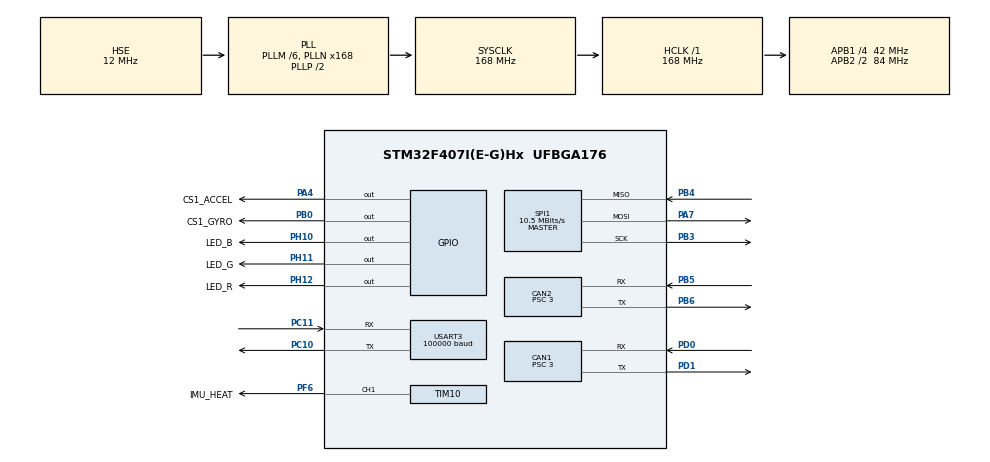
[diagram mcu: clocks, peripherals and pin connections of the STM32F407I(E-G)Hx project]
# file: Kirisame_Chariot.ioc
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CAN1.ABOM=ENABLE
CAN1.AWUM=ENABLE
CAN1.BS1=CAN_BS1_7TQ
CAN1.BS2=CAN_BS2_6TQ
CAN1.CalculateBaudRate=1000000
CAN1.CalculateTimeBit=1000
CAN1.CalculateTimeQuantum=71.42857142857143
CAN1.Mode=CAN_MODE_NORMAL
CAN1.NART=ENABLE
CAN1.Prescaler=3
CAN1.TXFP=ENABLE
CAN2.BS1=CAN_BS1_7TQ
CAN2.BS2=CAN_BS2_6TQ
CAN2.CalculateBaudRate=1000000
CAN2.CalculateTimeBit=1000
CAN2.CalculateTimeQuantum=71.42857142857143
CAN2.Prescaler=3
Dma.Request0=SPI1_RX
Dma.Request1=SPI1_TX
Dma.Request2=USART3_RX
Dma.SPI1_RX.0.Direction=DMA_PERIPH_TO_MEMORY
Dma.SPI1_RX.0.FIFOMode=DMA_FIFOMODE_DISABLE
Dma.SPI1_RX.0.Instance=DMA2_Stream2
Dma.SPI1_RX.0.MemDataAlignment=DMA_MDATAALIGN_BYTE
Dma.SPI1_RX.0.MemInc=DMA_MINC_ENABLE
Dma.SPI1_RX.0.Mode=DMA_NORMAL
Dma.SPI1_RX.0.PeriphDataAlignment=DMA_PDATAALIGN_BYTE
Dma.SPI1_RX.0.PeriphInc=DMA_PINC_DISABLE
Dma.SPI1_RX.0.Priority=DMA_PRIORITY_VERY_HIGH
Dma.SPI1_TX.1.Direction=DMA_MEMORY_TO_PERIPH
Dma.SPI1_TX.1.FIFOMode=DMA_FIFOMODE_DISABLE
Dma.SPI1_TX.1.Instance=DMA2_Stream3
Dma.SPI1_TX.1.MemDataAlignment=DMA_MDATAALIGN_BYTE
Dma.SPI1_TX.1.MemInc=DMA_MINC_ENABLE
Dma.SPI1_TX.1.Mode=DMA_NORMAL
Dma.SPI1_TX.1.PeriphDataAlignment=DMA_PDATAALIGN_BYTE
Dma.SPI1_TX.1.PeriphInc=DMA_PINC_DISABLE
Dma.SPI1_TX.1.Priority=DMA_PRIORITY_HIGH
Dma.USART3_RX.2.Direction=DMA_PERIPH_TO_MEMORY
Dma.USART3_RX.2.FIFOMode=DMA_FIFOMODE_DISABLE
Dma.USART3_RX.2.Instance=DMA1_Stream1
Dma.USART3_RX.2.MemDataAlignment=DMA_MDATAALIGN_BYTE
Dma.USART3_RX.2.MemInc=DMA_MINC_ENABLE
Dma.USART3_RX.2.Mode=DMA_CIRCULAR
Dma.USART3_RX.2.PeriphDataAlignment=DMA_PDATAALIGN_BYTE
Dma.USART3_RX.2.PeriphInc=DMA_PINC_DISABLE
Dma.USART3_RX.2.Priority=DMA_PRIORITY_LOW
FREERTOS.CountingSemaphores01=CAN1CountingSem,3,Dynamic,NULL;CAN2CountingSem,3,Dynamic,NULL
FREERTOS.Queues01=can1_send_fifo,16,can_device_transmit_member,0,Dynamic,NULL,NULL;can2_send_fifo,16,can_device_transmit_member,0,Dynamic,NULL,NULL
FREERTOS.Tasks01=CAN1_Sending_Service,40,256,can1_sending_service,As weak,NULL,Dynamic,NULL,NULL;CAN2_Sending_Service,40,256,can2_sending_service,As weak,NULL,Dynamic,NULL,NULL;DJI_Motor_Service,40,256,DJI_motor_service,As weak,NULL,Dynamic,NULL,NULL;LED_R,8,128,led_r,As weak,NULL,Dynamic,NULL,NULL;LED_G,8,128,led_g,As weak,NULL,Dynamic,NULL,NULL;LED_B,8,128,led_b,As weak,NULL,Dynamic,NULL,NULL;INS_Task,32,1024,StartINSTask,As weak,NULL,Dynamic,NULL,NULL;PMTask,8,128,StartPMTask,As weak,NULL,Dynamic,NULL,NULL;ProtectionTask,40,512,StartProTask,As weak,NULL,Dynamic,NULL,NULL;ShootTask,40,1024,StartShootTask,As weak,NULL,Dynamic,NULL,NULL;PTZ,40,128,pitch_yaw_task,As weak,NULL,Dynamic,NULL,NULL;ChassisTask,40,512,StartChassisTask,As weak,NULL,Dynamic,NULL,NULL
FREERTOS.configMAX_TASK_NAME_LEN=32
FREERTOS.configMINIMAL_STACK_SIZE=128
FREERTOS.configTOTAL_HEAP_SIZE=50000
FREERTOS.configUSE_NEWLIB_REENTRANT=1
Mcu.Family=STM32F4
Mcu.Name=STM32F407I(E-G)Hx
Mcu.Package=UFBGA176
NVIC.CAN1_RX0_IRQn=true\:5\:0\:false\:false\:true\:true\:true\:true\:true
NVIC.CAN1_TX_IRQn=true\:5\:0\:false\:false\:true\:true\:true\:true\:true
NVIC.CAN2_RX1_IRQn=true\:5\:0\:false\:false\:true\:true\:true\:true\:true
NVIC.CAN2_TX_IRQn=true\:5\:0\:false\:false\:true\:true\:true\:true\:true
NVIC.DMA1_Stream1_IRQn=true\:5\:0\:false\:false\:true\:true\:false\:true\:true
NVIC.DMA2_Stream2_IRQn=true\:5\:0\:false\:false\:true\:false\:false\:true\:true
NVIC.DMA2_Stream3_IRQn=true\:5\:0\:false\:false\:true\:true\:false\:true\:true
NVIC.PriorityGroup=NVIC_PRIORITYGROUP_4
NVIC.TIM7_IRQn=true\:15\:0\:false\:false\:true\:false\:false\:true\:true
NVIC.TimeBase=TIM7_IRQn
NVIC.TimeBaseIP=TIM7
NVIC.USART3_IRQn=true\:5\:0\:false\:false\:true\:true\:true\:true\:true
PA13.Mode=Serial_Wire
PA13.Signal=SYS_JTMS-SWDIO
PA14.Mode=Serial_Wire
PA14.Signal=SYS_JTCK-SWCLK
PA4.GPIO_Label=CS1_ACCEL
PA4.GPIO_PuPd=GPIO_PULLUP
PA4.GPIO_Speed=GPIO_SPEED_FREQ_HIGH
PA4.PinState=GPIO_PIN_SET
PA4.Signal=GPIO_Output
PA7.GPIO_PuPd=GPIO_PULLUP
PA7.Mode=Full_Duplex_Master
PA7.Signal=SPI1_MOSI
PB0.GPIO_Label=CS1_GYRO
PB0.GPIO_PuPd=GPIO_PULLUP
PB0.GPIO_Speed=GPIO_SPEED_FREQ_HIGH
PB0.PinState=GPIO_PIN_SET
PB0.Signal=GPIO_Output
PB3.GPIO_PuPd=GPIO_PULLUP
PB3.Mode=Full_Duplex_Master
PB3.Signal=SPI1_SCK
PB4.GPIO_PuPd=GPIO_PULLUP
PB4.Mode=Full_Duplex_Master
PB4.Signal=SPI1_MISO
PB5.Mode=CAN_Activate
PB5.Signal=CAN2_RX
PB6.Mode=CAN_Activate
PB6.Signal=CAN2_TX
PC10.Mode=Asynchronous
PC10.Signal=USART3_TX
PC11.Mode=Asynchronous
PC11.Signal=USART3_RX
PD0.Mode=CAN_Activate
PD0.Signal=CAN1_RX
PD1.Mode=CAN_Activate
PD1.Signal=CAN1_TX
PF6.GPIO_Label=IMU_HEAT
PF6.GPIO_PuPd=GPIO_PULLUP
PF6.GPIO_Speed=GPIO_SPEED_FREQ_HIGH
PF6.Signal=S_TIM10_CH1
PH0-OSC_IN.Mode=HSE-External-Oscillator
PH0-OSC_IN.Signal=RCC_OSC_IN
PH1-OSC_OUT.Mode=HSE-External-Oscillator
PH1-OSC_OUT.Signal=RCC_OSC_OUT
PH10.GPIO_Label=LED_B
PH10.PinState=GPIO_PIN_SET
PH10.Signal=GPIO_Output
PH11.GPIO_Label=LED_G
PH11.PinState=GPIO_PIN_SET
PH11.Signal=GPIO_Output
PH12.GPIO_Label=LED_R
PH12.PinState=GPIO_PIN_SET
PH12.Signal=GPIO_Output
ProjectManager.HeapSize=0x200
ProjectManager.StackSize=0x400
ProjectManager.TargetToolchain=CMake
RCC.48MHZClocksFreq_Value=84000000
RCC.AHBFreq_Value=168000000
RCC.APB1CLKDivider=RCC_HCLK_DIV4
RCC.APB1Freq_Value=42000000
RCC.APB1TimFreq_Value=84000000
RCC.APB2CLKDivider=RCC_HCLK_DIV2
RCC.APB2Freq_Value=84000000
RCC.APB2TimFreq_Value=168000000
RCC.CortexFreq_Value=168000000
RCC.HCLKFreq_Value=168000000
RCC.HSE_VALUE=12000000
RCC.HSI_VALUE=16000000
RCC.LSE_VALUE=32768
RCC.PLLM=6
RCC.PLLN=168
RCC.PLLSourceVirtual=RCC_PLLSOURCE_HSE
RCC.SYSCLKFreq_VALUE=168000000
RCC.SYSCLKSource=RCC_SYSCLKSOURCE_PLLCLK
RCC.VCOOutputFreq_Value=336000000
SH.S_TIM10_CH1.0=TIM10_CH1,PWM Generation1 CH1
SPI1.BaudRatePrescaler=SPI_BAUDRATEPRESCALER_8
SPI1.CLKPhase=SPI_PHASE_2EDGE
SPI1.CLKPolarity=SPI_POLARITY_HIGH
SPI1.CalculateBaudRate=10.5 MBits/s
SPI1.Direction=SPI_DIRECTION_2LINES
SPI1.Mode=SPI_MODE_MASTER
SPI1.VirtualType=VM_MASTER
STMicroelectronics.X-CUBE-ALGOBUILD.1.5.0.LibraryCcDSPOoLibraryJjDSPOoLibrary=true
TIM10.Channel=TIM_CHANNEL_1
TIM10.Period=2000-1
TIM10.Prescaler=84-1
USART3.BaudRate=100000
USART3.Parity=PARITY_EVEN
USART3.VirtualMode=VM_ASYNC
USART3.WordLength=WORDLENGTH_9B
VP_FREERTOS_VS_CMSIS_V2.Mode=CMSIS_V2
VP_STMicroelectronics.X-CUBE-ALGOBUILD_VS_DSPOoLibraryJjLibrary_1.5.0_1.5.0.Mode=DSPOoLibraryJjLibrary
VP_SYS_VS_tim7.Mode=TIM7
VP_TIM10_VS_ClockSourceINT.Mode=Enable_Timer
board=custom

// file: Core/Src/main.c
/* USER CODE BEGIN Header */
/**
  ******************************************************************************
  * @file           : main.c
  * @brief          : Main program body
  ******************************************************************************
  * @attention
  *
  * Copyright (c) 2026 STMicroelectronics.
  * All rights reserved.
  *
  * This software is licensed under terms that can be found in the LICENSE file
  * in the root directory of this software component.
  * If no LICENSE file comes with this software, it is provided AS-IS.
  *
  ******************************************************************************
  */
/* USER CODE END Header */
#include "main.h"
#include "cmsis_os.h"
#include "can.h"
#include "dma.h"
#include "spi.h"
#include "tim.h"
#include "usart.h"
#include "gpio.h"

/* USER CODE BEGIN Includes */
#include "BMI088driver.h"
#include "bsp_dwt.h"
#include "remote_ctrl.h"
/* USER CODE END Includes */

void SystemClock_Config(void);
void MX_FREERTOS_Init(void);

/* USER CODE BEGIN 0 */
void bsp_can_init() {
    HAL_CAN_Start(&hcan1);
    HAL_CAN_ActivateNotification(&hcan1,  CAN_IT_RX_FIFO0_MSG_PENDING | CAN_IT_TX_MAILBOX_EMPTY);
    HAL_CAN_Start(&hcan2);
    HAL_CAN_ActivateNotification(&hcan2,  CAN_IT_RX_FIFO1_MSG_PENDING | CAN_IT_TX_MAILBOX_EMPTY);
}
/* USER CODE END 0 */

int main(void)
{

  /* USER CODE BEGIN 1 */
  __HAL_RCC_SYSCLK_CONFIG(RCC_SYSCLKSOURCE_HSI);
  /* USER CODE END 1 */

  /* MCU Configuration--------------------------------------------------------*/

  /* Reset of all peripherals, Initializes the Flash interface and the Systick. */
  HAL_Init();

  /* Configure the system clock */
  SystemClock_Config();

  /* Initialize all configured peripherals */
  MX_GPIO_Init();
  MX_DMA_Init();
  MX_CAN1_Init();
  MX_CAN2_Init();
  MX_SPI1_Init();
  MX_TIM10_Init();
  MX_USART3_UART_Init();
  /* USER CODE BEGIN 2 */
  DWT_Init(168);
  while (BMI088_init(&hspi1, 1) != BMI088_NO_ERROR)
    ;
    bsp_can_init();
  //uint32_t init_delay = HAL_GetTick();
  //while (HAL_GetTick() - init_delay <500)
    ;
  BSP_DBUS_Init();
  /* USER CODE END 2 */

  /* Init scheduler */
  osKernelInitialize();  /* Call init function for freertos objects (in cmsis_os2.c) */
  MX_FREERTOS_Init();

  /* Start scheduler */
  osKernelStart();

  /* We should never get here as control is now taken by the scheduler */

  /* Infinite loop */
  while (1)
  {

  }
}

void SystemClock_Config(void)
{
  RCC_OscInitTypeDef RCC_OscInitStruct = {0};
  RCC_ClkInitTypeDef RCC_ClkInitStruct = {0};

  /** Configure the main internal regulator output voltage
  */
  __HAL_RCC_PWR_CLK_ENABLE();
  __HAL_PWR_VOLTAGESCALING_CONFIG(PWR_REGULATOR_VOLTAGE_SCALE1);

  /** Initializes the RCC Oscillators according to the specified parameters
  * in the RCC_OscInitTypeDef structure.
  */
  RCC_OscInitStruct.OscillatorType = RCC_OSCILLATORTYPE_HSE;
  RCC_OscInitStruct.HSEState = RCC_HSE_ON;
  RCC_OscInitStruct.PLL.PLLState = RCC_PLL_ON;
  RCC_OscInitStruct.PLL.PLLSource = RCC_PLLSOURCE_HSE;
  RCC_OscInitStruct.PLL.PLLM = 6;
  RCC_OscInitStruct.PLL.PLLN = 168;
  RCC_OscInitStruct.PLL.PLLP = RCC_PLLP_DIV2;
  RCC_OscInitStruct.PLL.PLLQ = 4;
  if (HAL_RCC_OscConfig(&RCC_OscInitStruct) != HAL_OK)
  {
    Error_Handler();
  }

  /** Initializes the CPU, AHB and APB buses clocks
  */
  RCC_ClkInitStruct.ClockType = RCC_CLOCKTYPE_HCLK|RCC_CLOCKTYPE_SYSCLK
                              |RCC_CLOCKTYPE_PCLK1|RCC_CLOCKTYPE_PCLK2;
  RCC_ClkInitStruct.SYSCLKSource = RCC_SYSCLKSOURCE_PLLCLK;
  RCC_ClkInitStruct.AHBCLKDivider = RCC_SYSCLK_DIV1;
  RCC_ClkInitStruct.APB1CLKDivider = RCC_HCLK_DIV4;
  RCC_ClkInitStruct.APB2CLKDivider = RCC_HCLK_DIV2;

  if (HAL_RCC_ClockConfig(&RCC_ClkInitStruct, FLASH_LATENCY_5) != HAL_OK)
  {
    Error_Handler();
  }
}

void HAL_TIM_PeriodElapsedCallback(TIM_HandleTypeDef *htim)
{
  if (htim->Instance == TIM7)
  {
    HAL_IncTick();
  }
}

void Error_Handler(void)
{
  __disable_irq();
  while (1)
  {
  }
}

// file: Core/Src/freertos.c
/* USER CODE BEGIN Header */
/**
  ******************************************************************************
  * File Name          : freertos.c
  * Description        : Code for freertos applications
  ******************************************************************************
  * @attention
  *
  * Copyright (c) 2026 STMicroelectronics.
  * All rights reserved.
  *
  * This software is licensed under terms that can be found in the LICENSE file
  * in the root directory of this software component.
  * If no LICENSE file comes with this software, it is provided AS-IS.
  *
  ******************************************************************************
  */
/* USER CODE END Header */

#include "FreeRTOS.h"
#include "task.h"
#include "main.h"
#include "cmsis_os.h"

/* USER CODE BEGIN PTD */
typedef struct {
    CAN_HandleTypeDef *hcan;
    uint32_t id;
    uint8_t len;
    uint8_t *buf_data;
}can_device_transmit_member;
/* USER CODE END PTD */

/* Definitions for CAN1_Sending_Service */
osThreadId_t CAN1_Sending_ServiceHandle;
const osThreadAttr_t CAN1_Sending_Service_attributes = {
  .name = "CAN1_Sending_Service",
  .stack_size = 256 * 4,
  .priority = (osPriority_t) osPriorityHigh,
};
/* Definitions for CAN2_Sending_Service */
osThreadId_t CAN2_Sending_ServiceHandle;
const osThreadAttr_t CAN2_Sending_Service_attributes = {
  .name = "CAN2_Sending_Service",
  .stack_size = 256 * 4,
  .priority = (osPriority_t) osPriorityHigh,
};
/* Definitions for DJI_Motor_Service */
osThreadId_t DJI_Motor_ServiceHandle;
const osThreadAttr_t DJI_Motor_Service_attributes = {
  .name = "DJI_Motor_Service",
  .stack_size = 256 * 4,
  .priority = (osPriority_t) osPriorityHigh,
};
/* Definitions for LED_R */
osThreadId_t LED_RHandle;
const osThreadAttr_t LED_R_attributes = {
  .name = "LED_R",
  .stack_size = 128 * 4,
  .priority = (osPriority_t) osPriorityLow,
};
/* Definitions for LED_G */
osThreadId_t LED_GHandle;
const osThreadAttr_t LED_G_attributes = {
  .name = "LED_G",
  .stack_size = 128 * 4,
  .priority = (osPriority_t) osPriorityLow,
};
/* Definitions for LED_B */
osThreadId_t LED_BHandle;
const osThreadAttr_t LED_B_attributes = {
  .name = "LED_B",
  .stack_size = 128 * 4,
  .priority = (osPriority_t) osPriorityLow,
};
/* Definitions for INS_Task */
osThreadId_t INS_TaskHandle;
const osThreadAttr_t INS_Task_attributes = {
  .name = "INS_Task",
  .stack_size = 1024 * 4,
  .priority = (osPriority_t) osPriorityAboveNormal,
};
/* Definitions for PMTask */
osThreadId_t PMTaskHandle;
const osThreadAttr_t PMTask_attributes = {
  .name = "PMTask",
  .stack_size = 128 * 4,
  .priority = (osPriority_t) osPriorityLow,
};
/* Definitions for ProtectionTask */
osThreadId_t ProtectionTaskHandle;
const osThreadAttr_t ProtectionTask_attributes = {
  .name = "ProtectionTask",
  .stack_size = 512 * 4,
  .priority = (osPriority_t) osPriorityHigh,
};
/* Definitions for ShootTask */
osThreadId_t ShootTaskHandle;
const osThreadAttr_t ShootTask_attributes = {
  .name = "ShootTask",
  .stack_size = 1024 * 4,
  .priority = (osPriority_t) osPriorityHigh,
};
/* Definitions for PTZ */
osThreadId_t PTZHandle;
const osThreadAttr_t PTZ_attributes = {
  .name = "PTZ",
  .stack_size = 128 * 4,
  .priority = (osPriority_t) osPriorityHigh,
};
/* Definitions for ChassisTask */
osThreadId_t ChassisTaskHandle;
const osThreadAttr_t ChassisTask_attributes = {
  .name = "ChassisTask",
  .stack_size = 512 * 4,
  .priority = (osPriority_t) osPriorityHigh,
};
/* Definitions for can1_send_fifo */
osMessageQueueId_t can1_send_fifoHandle;
const osMessageQueueAttr_t can1_send_fifo_attributes = {
  .name = "can1_send_fifo"
};
/* Definitions for can2_send_fifo */
osMessageQueueId_t can2_send_fifoHandle;
const osMessageQueueAttr_t can2_send_fifo_attributes = {
  .name = "can2_send_fifo"
};
/* Definitions for CAN1CountingSem */
osSemaphoreId_t CAN1CountingSemHandle;
const osSemaphoreAttr_t CAN1CountingSem_attributes = {
  .name = "CAN1CountingSem"
};
/* Definitions for CAN2CountingSem */
osSemaphoreId_t CAN2CountingSemHandle;
const osSemaphoreAttr_t CAN2CountingSem_attributes = {
  .name = "CAN2CountingSem"
};

void can1_sending_service(void *argument);
void can2_sending_service(void *argument);
void DJI_motor_service(void *argument);
void led_r(void *argument);
void led_g(void *argument);
void led_b(void *argument);
void StartINSTask(void *argument);
void StartPMTask(void *argument);
void StartProTask(void *argument);
void StartShootTask(void *argument);
void pitch_yaw_task(void *argument);
void StartChassisTask(void *argument);

void MX_FREERTOS_Init(void); /* (MISRA C 2004 rule 8.1) */

void MX_FREERTOS_Init(void) {

  /* Create the semaphores(s) */
  /* creation of CAN1CountingSem */
  CAN1CountingSemHandle = osSemaphoreNew(3, 3, &CAN1CountingSem_attributes);

  /* creation of CAN2CountingSem */
  CAN2CountingSemHandle = osSemaphoreNew(3, 3, &CAN2CountingSem_attributes);

  /* Create the queue(s) */
  /* creation of can1_send_fifo */
  can1_send_fifoHandle = osMessageQueueNew (16, sizeof(can_device_transmit_member), &can1_send_fifo_attributes);

  /* creation of can2_send_fifo */
  can2_send_fifoHandle = osMessageQueueNew (16, sizeof(can_device_transmit_member), &can2_send_fifo_attributes);

  /* Create the thread(s) */
  /* creation of CAN1_Sending_Service */
  CAN1_Sending_ServiceHandle = osThreadNew(can1_sending_service, NULL, &CAN1_Sending_Service_attributes);

  /* creation of CAN2_Sending_Service */
  CAN2_Sending_ServiceHandle = osThreadNew(can2_sending_service, NULL, &CAN2_Sending_Service_attributes);

  /* creation of DJI_Motor_Service */
  DJI_Motor_ServiceHandle = osThreadNew(DJI_motor_service, NULL, &DJI_Motor_Service_attributes);

  /* creation of LED_R */
  LED_RHandle = osThreadNew(led_r, NULL, &LED_R_attributes);

  /* creation of LED_G */
  LED_GHandle = osThreadNew(led_g, NULL, &LED_G_attributes);

  /* creation of LED_B */
  LED_BHandle = osThreadNew(led_b, NULL, &LED_B_attributes);

  /* creation of INS_Task */
  INS_TaskHandle = osThreadNew(StartINSTask, NULL, &INS_Task_attributes);

  /* creation of PMTask */
  PMTaskHandle = osThreadNew(StartPMTask, NULL, &PMTask_attributes);

  /* creation of ProtectionTask */
  ProtectionTaskHandle = osThreadNew(StartProTask, NULL, &ProtectionTask_attributes);

  /* creation of ShootTask */
  ShootTaskHandle = osThreadNew(StartShootTask, NULL, &ShootTask_attributes);

  /* creation of PTZ */
  PTZHandle = osThreadNew(pitch_yaw_task, NULL, &PTZ_attributes);

  /* creation of ChassisTask */
  ChassisTaskHandle = osThreadNew(StartChassisTask, NULL, &ChassisTask_attributes);

}

__weak void can1_sending_service(void *argument)
{
  for(;;)
  {
    osDelay(1);
  }
}

__weak void can2_sending_service(void *argument)
{
  for(;;)
  {
    osDelay(1);
  }
}

__weak void DJI_motor_service(void *argument)
{
  for(;;)
  {
    osDelay(1);
  }
}

__weak void led_r(void *argument)
{
  for(;;)
  {
    osDelay(1);
  }
}

__weak void led_g(void *argument)
{
  for(;;)
  {
    osDelay(1);
  }
}

__weak void led_b(void *argument)
{
  for(;;)
  {
    osDelay(1);
  }
}

__weak void StartINSTask(void *argument)
{
  for(;;)
  {
    osDelay(1);
  }
}

__weak void StartPMTask(void *argument)
{
  for(;;)
  {
    osDelay(1);
  }
}

__weak void StartProTask(void *argument)
{
  for(;;)
  {
    osDelay(1);
  }
}

__weak void StartShootTask(void *argument)
{
  for(;;)
  {
    osDelay(1);
  }
}

__weak void pitch_yaw_task(void *argument)
{
  for(;;)
  {
    osDelay(1);
  }
}

__weak void StartChassisTask(void *argument)
{
  for(;;)
  {
    osDelay(1);
  }
}
